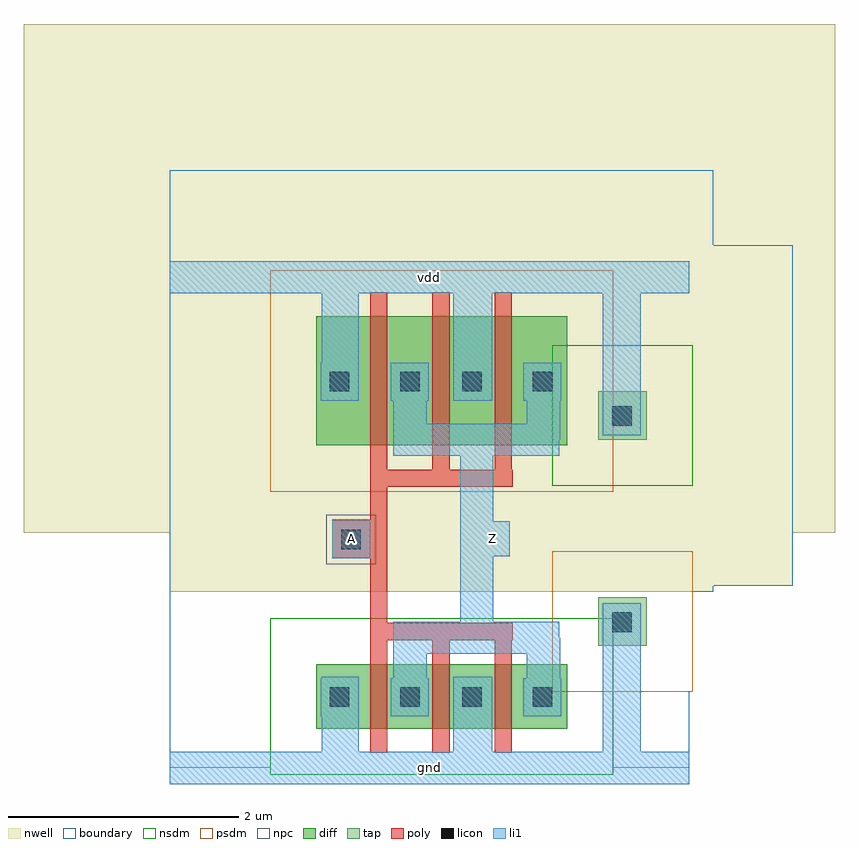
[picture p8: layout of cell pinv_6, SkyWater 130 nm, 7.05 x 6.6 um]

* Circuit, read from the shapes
.subckt pinv_6 A Z gnd vdd
XM1 Z A gnd gnd sky130_fd_pr__nfet_01v8 w=0.56 l=0.15 m=3
XM2 Z A vdd vdd sky130_fd_pr__pfet_01v8 w=1.12 l=0.15 m=3
.ends

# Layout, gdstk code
import gdstk
lib = gdstk.Library(unit=1e-6, precision=1e-09)
def R(c, l, rs):  # rectangles x0, y0, x1, y1
    for r in rs: c.add(gdstk.rectangle(r[:2], r[2:], *l))
def A(c, l, x, y, w, h, nx, ny, dx, dy):  # array of equal rectangles
    R(c, l, [(x+i*dx, y+j*dy, x+i*dx+w, y+j*dy+h) for i in range(nx) for j in range(ny)])
nwell = (64, 20)
diff = (65, 20)
tap = (65, 44)
poly = (66, 20)
licon = (66, 44)
li1 = (67, 20)
nsdm = (93, 44)
psdm = (94, 20)
npc = (95, 20)
boundary = (235, 4)

contact_12 = lib.new_cell('contact_12')
R(contact_12, nwell, [(-1.27,-1.27,1.69,1.69)])
R(contact_12, diff, [(0,0,0.42,0.42)])
R(contact_12, licon, [(0.12,0.12,0.29,0.29)])
R(contact_12, li1, [(0.04,0.04,0.37,0.37)])
R(contact_12, psdm, [(-0.4,-0.4,0.82,0.82)])
R(contact_12, boundary, [(-1.27,-1.27,1.69,1.69)])

pmos_m3_w1_120_sli_dli_d = lib.new_cell('pmos_m3_w1_120_sli_dli_da_p')
R(pmos_m3_w1_120_sli_dli_d, nwell, [(-1.27,-1.27,3.45,2.39)])
R(pmos_m3_w1_120_sli_dli_d, diff, [(0,0,2.18,1.12)])
A(pmos_m3_w1_120_sli_dli_d, poly, 0.47, -0.21, 0.15, 1.54, 3, 1, 0.54, 0)
R(pmos_m3_w1_120_sli_dli_d, poly, [(0.47,-0.36,1.71,-0.21)])
R(pmos_m3_w1_120_sli_dli_d, li1, [(0.67,-0.09,2.11,0.19), (0.67,0.05,0.96,0.56), (1.83,0.05,2.12,0.56), (0.05,0.39,0.37,0.73), (1.19,0.39,1.53,0.73)])
R(pmos_m3_w1_120_sli_dli_d, psdm, [(-0.4,-0.4,2.58,1.52)])
R(pmos_m3_w1_120_sli_dli_d, boundary, [(-1.27,-1.27,3.45,2.39)])
pmos_m3_w1_120_sli_dli_d.add(gdstk.Reference(contact_12, (0,0.35)))
pmos_m3_w1_120_sli_dli_d.add(gdstk.Reference(contact_12, (0.61,0.35)))
pmos_m3_w1_120_sli_dli_d.add(gdstk.Reference(contact_12, (1.15,0.35)))
pmos_m3_w1_120_sli_dli_d.add(gdstk.Reference(contact_12, (1.76,0.35)))
pmos_m3_w1_120_sli_dli_d.add(gdstk.Label('G', (1.09,-0.285), layer=66, texttype=20))
pmos_m3_w1_120_sli_dli_d.add(gdstk.Label('S', (0.21,0.56), layer=67, texttype=20))
pmos_m3_w1_120_sli_dli_d.add(gdstk.Label('S', (1.36,0.56), layer=67, texttype=20))
pmos_m3_w1_120_sli_dli_d.add(gdstk.Label('D', (1.39,0.05), layer=67, texttype=20))

contact_11 = lib.new_cell('contact_11')
R(contact_11, diff, [(0,0,0.42,0.42)])
R(contact_11, licon, [(0.12,0.12,0.29,0.29)])
R(contact_11, li1, [(0.04,0.04,0.37,0.37)])
R(contact_11, nsdm, [(-0.4,-0.4,0.82,0.82)])
R(contact_11, boundary, [(-0.4,-0.4,0.82,0.82)])

nmos_m3_w0_560_sli_dli_d = lib.new_cell('nmos_m3_w0_560_sli_dli_da_p')
R(nmos_m3_w0_560_sli_dli_d, diff, [(0,0,2.18,0.56)])
A(nmos_m3_w0_560_sli_dli_d, poly, 0.47, -0.21, 0.15, 0.98, 3, 1, 0.54, 0)
R(nmos_m3_w0_560_sli_dli_d, poly, [(0.47,0.77,1.71,0.92)])
R(nmos_m3_w0_560_sli_dli_d, li1, [(0.05,0.11,0.37,0.45), (1.19,0.11,1.53,0.45), (0.67,0.28,0.96,0.79), (1.83,0.28,2.12,0.79), (0.67,0.65,2.11,0.93)])
R(nmos_m3_w0_560_sli_dli_d, nsdm, [(-0.4,-0.4,2.58,0.96)])
R(nmos_m3_w0_560_sli_dli_d, boundary, [(-0.4,-0.4,2.58,0.96)])
nmos_m3_w0_560_sli_dli_d.add(gdstk.Reference(contact_11, (0,0.07)))
nmos_m3_w0_560_sli_dli_d.add(gdstk.Reference(contact_11, (0.61,0.07)))
nmos_m3_w0_560_sli_dli_d.add(gdstk.Reference(contact_11, (1.15,0.07)))
nmos_m3_w0_560_sli_dli_d.add(gdstk.Reference(contact_11, (1.76,0.07)))
nmos_m3_w0_560_sli_dli_d.add(gdstk.Label('G', (1.09,0.845), layer=66, texttype=20))
nmos_m3_w0_560_sli_dli_d.add(gdstk.Label('S', (0.21,0.28), layer=67, texttype=20))
nmos_m3_w0_560_sli_dli_d.add(gdstk.Label('S', (1.36,0.28), layer=67, texttype=20))
nmos_m3_w0_560_sli_dli_d.add(gdstk.Label('D', (1.39,0.79), layer=67, texttype=20))

contact_13 = lib.new_cell('contact_13')
R(contact_13, nwell, [(-1.27,-1.27,1.69,1.69)])
R(contact_13, tap, [(0,0,0.42,0.42)])
R(contact_13, licon, [(0.12,0.12,0.29,0.29)])
R(contact_13, li1, [(0.04,0.04,0.37,0.37)])
R(contact_13, nsdm, [(-0.4,-0.4,0.82,0.82)])
R(contact_13, boundary, [(-1.27,-1.27,1.69,1.69)])

contact_14 = lib.new_cell('contact_14')
R(contact_14, tap, [(0,0,0.42,0.42)])
R(contact_14, licon, [(0.12,0.12,0.29,0.29)])
R(contact_14, li1, [(0.04,0.04,0.37,0.37)])
R(contact_14, psdm, [(-0.4,-0.4,0.82,0.82)])
R(contact_14, boundary, [(-0.4,-0.4,0.82,0.82)])

contact_15 = lib.new_cell('contact_15')
R(contact_15, poly, [(0,0,0.33,0.33)])
R(contact_15, licon, [(0.08,0.08,0.25,0.25)])
R(contact_15, li1, [(0,0,0.33,0.33)])
R(contact_15, npc, [(-0.05,-0.05,0.38,0.38)])
R(contact_15, boundary, [(-0.05,-0.05,0.38,0.38)])

pinv_6 = lib.new_cell('pinv_6')
R(pinv_6, nwell, [(-1.27,2.04,5.78,6.46)])
R(pinv_6, poly, [(1.74,1.26,1.89,2.44), (1.58,1.82,1.74,2.15)])
R(pinv_6, li1, [(0,-0.14,4.51,0.14), (1.32,-0.14,1.64,0.45), (2.46,-0.14,2.8,0.45), (3.76,0,4.09,1.27), (2.52,0.99,2.81,2.99), (1.41,1.82,1.74,2.16), (2.66,1.84,2.95,2.14), (3.76,3.06,4.09,4.26), (1.32,3.19,1.64,4.4), (2.46,3.19,2.8,4.4), (0,4.12,4.51,4.4)])
R(pinv_6, boundary, [(0,0,4.51,4.26), (0,0,4.51,4.26)])
pinv_6.add(gdstk.Reference(pmos_m3_w1_120_sli_dli_d, (1.27,2.8)))
pinv_6.add(gdstk.Reference(nmos_m3_w0_560_sli_dli_d, (1.27,0.34)))
pinv_6.add(gdstk.Reference(contact_13, (3.72,2.85)))
pinv_6.add(gdstk.Reference(contact_14, (3.72,1.06)))
pinv_6.add(gdstk.Reference(contact_15, (1.41,1.82)))
pinv_6.add(gdstk.Label('A', (1.575,1.99), layer=67, texttype=20))
pinv_6.add(gdstk.Label('Z', (2.805,1.99), layer=67, texttype=20))
pinv_6.add(gdstk.Label('gnd', (2.255,0), layer=67, texttype=20))
pinv_6.add(gdstk.Label('vdd', (2.255,4.26), layer=67, texttype=20))

lib.write_gds('pinv_6.gds')
